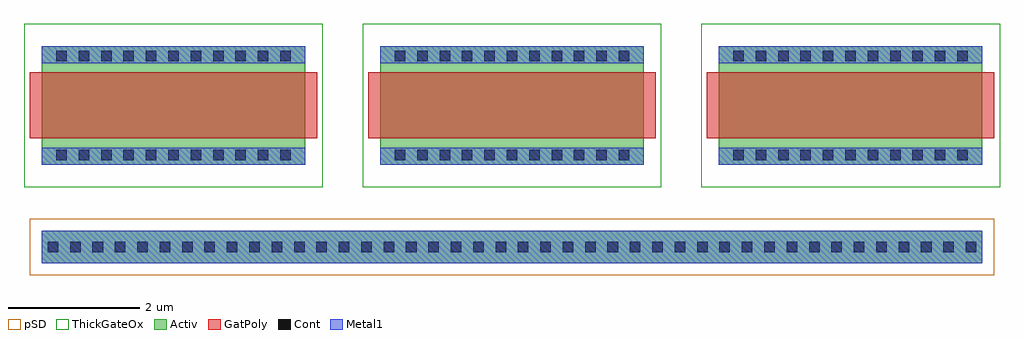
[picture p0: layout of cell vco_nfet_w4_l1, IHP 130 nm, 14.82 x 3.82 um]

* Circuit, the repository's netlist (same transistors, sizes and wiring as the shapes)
* extracted by klt extract --deck sg13cmos5l

* cell vco_nfet_w4_l1
* pin vsubs
.SUBCKT vco_nfet_w4_l1 vsubs
* device instance $1 r0 *1 3.3,3.36 nfet
X$1 \$8 \$2 \$3 vsubs sg13_hv_nmos L=1U W=4U AS=1.6P AD=1.6P PS=8.8U PD=8.8U
* device instance $2 r0 *1 9.26,3.36 nfet
X$2 \$9 \$4 \$5 vsubs sg13_hv_nmos L=1U W=4U AS=1.6P AD=1.6P PS=8.8U PD=8.8U
* device instance $3 r0 *1 15.22,3.36 nfet
X$3 \$10 \$6 \$7 vsubs sg13_hv_nmos L=1U W=4U AS=1.6P AD=1.6P PS=8.8U PD=8.8U
.ENDS vco_nfet_w4_l1

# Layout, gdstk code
import gdstk
lib = gdstk.Library(unit=1e-6, precision=1e-09)
def R(c, l, rs):  # rectangles x0, y0, x1, y1
    for r in rs: c.add(gdstk.rectangle(r[:2], r[2:], *l))
def A(c, l, x, y, w, h, nx, ny, dx, dy):  # array of equal rectangles
    R(c, l, [(x+i*dx, y+j*dy, x+i*dx+w, y+j*dy+h) for i in range(nx) for j in range(ny)])
Activ = (1, 0)
GatPoly = (5, 0)
Cont = (6, 0)
Metal1 = (8, 0)
pSD = (14, 0)
ThickGateOx = (44, 0)

vco_nfet_w4_l1 = lib.new_cell('vco_nfet_w4_l1')
A(vco_nfet_w4_l1, Activ, 0.89, 2.46, 4, 1.8, 3, 1, 5.14, 0)
R(vco_nfet_w4_l1, Activ, [(0.89,0.96,15.17,1.46)])
A(vco_nfet_w4_l1, GatPoly, 0.71, 2.86, 4.36, 1, 3, 1, 5.14, 0)
A(vco_nfet_w4_l1, Cont, 0.98, 1.13, 0.16, 0.16, 42, 1, 0.34, 0)
A(vco_nfet_w4_l1, Cont, 1.11, 2.53, 0.16, 0.16, 11, 2, 0.34, 1.5)
A(vco_nfet_w4_l1, Cont, 6.25, 2.53, 0.16, 0.16, 11, 2, 0.34, 1.5)
A(vco_nfet_w4_l1, Cont, 11.39, 2.53, 0.16, 0.16, 11, 2, 0.34, 1.5)
A(vco_nfet_w4_l1, Metal1, 0.89, 2.46, 4, 0.26, 3, 2, 5.14, 1.54)
R(vco_nfet_w4_l1, Metal1, [(0.89,0.96,15.17,1.46)])
R(vco_nfet_w4_l1, pSD, [(0.71,0.78,15.35,1.64)])
A(vco_nfet_w4_l1, ThickGateOx, 0.62, 2.12, 4.54, 2.48, 3, 1, 5.14, 0)

lib.write_gds('vco_nfet_w4_l1.gds')
